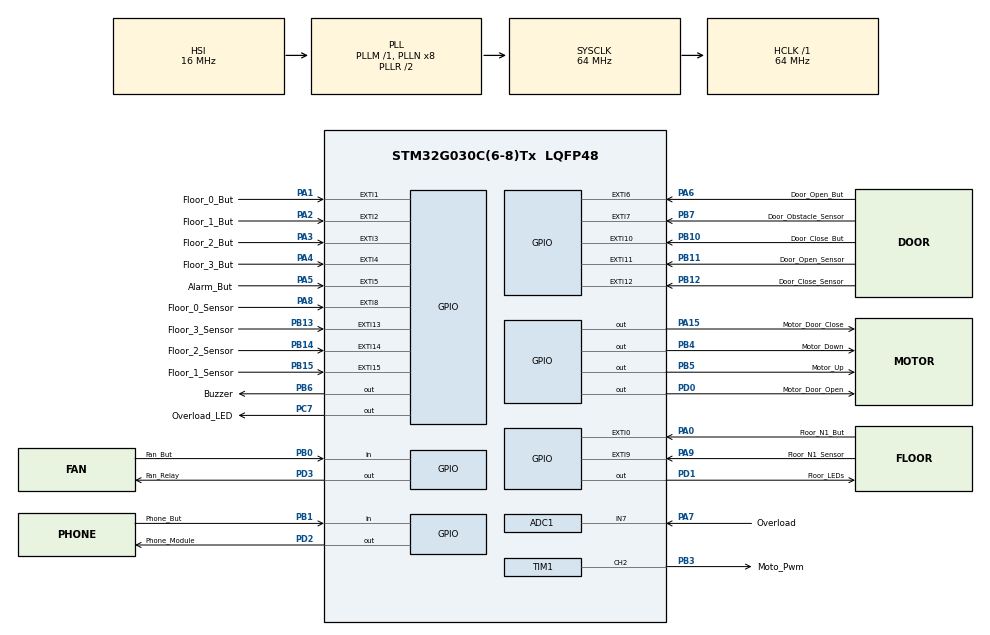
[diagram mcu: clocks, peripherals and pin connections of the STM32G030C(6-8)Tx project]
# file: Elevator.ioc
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ADC1.Channel-0\#ChannelRegularConversion=ADC_CHANNEL_7
ADC1.NbrOfConversionFlag=1
ADC1.Rank-0\#ChannelRegularConversion=1
ADC1.SamplingTime-0\#ChannelRegularConversion=ADC_SAMPLINGTIME_COMMON_1
ADC1.SamplingTimeCommon1=ADC_SAMPLETIME_7CYCLES_5
ADC1.SamplingTimeCommon2=ADC_SAMPLETIME_7CYCLES_5
ADC1.SelectedChannel=ADC_CHANNEL_7
ADC1.master=1
Mcu.Family=STM32G0
Mcu.Name=STM32G030C(6-8)Tx
Mcu.Package=LQFP48
NVIC.EXTI0_1_IRQn=true\:0\:0\:false\:false\:true\:true\:true\:true
NVIC.EXTI2_3_IRQn=true\:0\:0\:false\:false\:true\:true\:true\:true
NVIC.EXTI4_15_IRQn=true\:0\:0\:false\:false\:true\:true\:true\:true
PA0.GPIO_Label=Floor_N1_But
PA0.Signal=GPXTI0
PA1.GPIO_Label=Floor_0_But
PA1.Signal=GPXTI1
PA13.Mode=Serial_Wire
PA13.Signal=SYS_SWDIO
PA14-BOOT0.Mode=Serial_Wire
PA14-BOOT0.Signal=SYS_SWCLK
PA15.GPIO_Label=Motor_Door_Close
PA15.Signal=GPIO_Output
PA2.GPIO_Label=Floor_1_But
PA2.Signal=GPXTI2
PA3.GPIO_Label=Floor_2_But
PA3.Signal=GPXTI3
PA4.GPIO_Label=Floor_3_But
PA4.Signal=GPXTI4
PA5.GPIO_Label=Alarm_But
PA5.Signal=GPXTI5
PA6.GPIO_Label=Door_Open_But
PA6.Signal=GPXTI6
PA7.GPIO_Label=Overload
PA7.Mode=IN7
PA7.Signal=ADC1_IN7
PA8.GPIO_Label=Floor_0_Sensor
PA8.Signal=GPXTI8
PA9.GPIO_Label=Floor_N1_Sensor
PA9.Signal=GPXTI9
PB0.GPIO_Label=Fan_But
PB0.Signal=GPIO_Input
PB1.GPIO_Label=Phone_But
PB1.Signal=GPIO_Input
PB10.GPIO_Label=Door_Close_But
PB10.Signal=GPXTI10
PB11.GPIO_Label=Door_Open_Sensor
PB11.Signal=GPXTI11
PB12.GPIO_Label=Door_Close_Sensor
PB12.Signal=GPXTI12
PB13.GPIO_Label=Floor_3_Sensor
PB13.Signal=GPXTI13
PB14.GPIO_Label=Floor_2_Sensor
PB14.Signal=GPXTI14
PB15.GPIO_Label=Floor_1_Sensor
PB15.Signal=GPXTI15
PB3.GPIO_Label=Moto_Pwm
PB3.Signal=S_TIM1_CH2
PB4.GPIO_Label=Motor_Down
PB4.Signal=GPIO_Output
PB5.GPIO_Label=Motor_Up
PB5.Signal=GPIO_Output
PB6.GPIO_Label=Buzzer
PB6.Signal=GPIO_Output
PB7.GPIO_Label=Door_Obstacle_Sensor
PB7.Signal=GPXTI7
PC7.GPIO_Label=Overload_LED
PC7.Signal=GPIO_Output
PD0.GPIO_Label=Motor_Door_Open
PD0.Signal=GPIO_Output
PD1.GPIO_Label=Floor_LEDs
PD1.Signal=GPIO_Output
PD2.GPIO_Label=Phone_Module
PD2.Signal=GPIO_Output
PD3.GPIO_Label=Fan_Relay
PD3.Signal=GPIO_Output
PF0-OSC_IN\ (PF0).Mode=HSE-External-Oscillator
PF0-OSC_IN\ (PF0).Signal=RCC_OSC_IN
PF1-OSC_OUT\ (PF1).Mode=HSE-External-Oscillator
PF1-OSC_OUT\ (PF1).Signal=RCC_OSC_OUT
ProjectManager.HeapSize=0x200
ProjectManager.StackSize=0x400
ProjectManager.TargetToolchain=STM32CubeIDE
RCC.ADCFreq_Value=64000000
RCC.AHBFreq_Value=64000000
RCC.CortexFreq_Value=64000000
RCC.EXTERNAL_CLOCK_VALUE=12288000
RCC.HCLKFreq_Value=64000000
RCC.HSE_VALUE=8000000
RCC.HSI_VALUE=16000000
RCC.LSE_VALUE=32768
RCC.SYSCLKFreq_VALUE=64000000
RCC.SYSCLKSource=RCC_SYSCLKSOURCE_PLLCLK
RCC.VCOOutputFreq_Value=128000000
SH.S_TIM1_CH2.0=TIM1_CH2,Output Compare2 CH2
TIM1.Channel-Output\ Compare2\ CH2=TIM_CHANNEL_2
TIM1.CounterMode=TIM_COUNTERMODE_UP
TIM1.Period=999
TIM1.Prescaler=319
VP_TIM1_VS_ClockSourceINT.Mode=Internal
board=custom

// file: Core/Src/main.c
/* USER CODE BEGIN Header */
/**
  ******************************************************************************
  * @file           : main.c
  * @brief          : Main program body
  ******************************************************************************
  * @attention
  *
  * Copyright (c) 2025 STMicroelectronics.
  * All rights reserved.
  *
  * This software is licensed under terms that can be found in the LICENSE file
  * in the root directory of this software component.
  * If no LICENSE file comes with this software, it is provided AS-IS.
  *
  ******************************************************************************
  */
/* USER CODE END Header */
#include "main.h"

/* USER CODE BEGIN Includes */
#include "hal_config.h"
#include "elevator.h"
/* USER CODE END Includes */

ADC_HandleTypeDef hadc1;

TIM_HandleTypeDef htim1;

/* USER CODE BEGIN PV */
extern Elevator g_elevator;

/* USER CODE END PV */

void SystemClock_Config(void);
static void MX_GPIO_Init(void);
static void MX_TIM1_Init(void);
static void MX_ADC1_Init(void);

int main(void)
{

  /* MCU Configuration--------------------------------------------------------*/

  /* Reset of all peripherals, Initializes the Flash interface and the Systick. */
  HAL_Init();

  /* Configure the system clock */
  SystemClock_Config();

  /* Initialize all configured peripherals */
  MX_GPIO_Init();
  MX_TIM1_Init();
  MX_ADC1_Init();
  /* USER CODE BEGIN 2 */
  HAL_TIM_PWM_Start(&htim1, TIM_CHANNEL_2); // PWM ÇIKIŞINI BAŞLAT
  ELEVATOR_Init(); // ASANSÖR SİSTEMİNİ BAŞLAT

  /* USER CODE END 2 */

  /* Infinite loop */
  /* USER CODE BEGIN WHILE */
  while (1)
  {
	  ELEVATOR_MainLoop(); // ASANSÖRÜN ANA DÖNGÜSÜNÜ ÇALIŞTIR.

      // BEKLEME DURUMUNDA DÜŞÜK GÜÇ MODU
      if (g_elevator.state == STATE_IDLE) {
          HAL_PWR_EnterSLEEPMode(PWR_MAINREGULATOR_ON, PWR_SLEEPENTRY_WFI);
      }
    /* USER CODE END WHILE */

  }
}

void SystemClock_Config(void)
{
  RCC_OscInitTypeDef RCC_OscInitStruct = {0};
  RCC_ClkInitTypeDef RCC_ClkInitStruct = {0};

  /** Configure the main internal regulator output voltage
  */
  HAL_PWREx_ControlVoltageScaling(PWR_REGULATOR_VOLTAGE_SCALE1);

  /** Initializes the RCC Oscillators according to the specified parameters
  * in the RCC_OscInitTypeDef structure.
  */
  RCC_OscInitStruct.OscillatorType = RCC_OSCILLATORTYPE_HSI;
  RCC_OscInitStruct.HSIState = RCC_HSI_ON;
  RCC_OscInitStruct.HSIDiv = RCC_HSI_DIV1;
  RCC_OscInitStruct.HSICalibrationValue = RCC_HSICALIBRATION_DEFAULT;
  RCC_OscInitStruct.PLL.PLLState = RCC_PLL_ON;
  RCC_OscInitStruct.PLL.PLLSource = RCC_PLLSOURCE_HSI;
  RCC_OscInitStruct.PLL.PLLM = RCC_PLLM_DIV1;
  RCC_OscInitStruct.PLL.PLLN = 8;
  RCC_OscInitStruct.PLL.PLLP = RCC_PLLP_DIV2;
  RCC_OscInitStruct.PLL.PLLR = RCC_PLLR_DIV2;
  if (HAL_RCC_OscConfig(&RCC_OscInitStruct) != HAL_OK)
  {
    Error_Handler();
  }

  /** Initializes the CPU, AHB and APB buses clocks
  */
  RCC_ClkInitStruct.ClockType = RCC_CLOCKTYPE_HCLK|RCC_CLOCKTYPE_SYSCLK
                              |RCC_CLOCKTYPE_PCLK1;
  RCC_ClkInitStruct.SYSCLKSource = RCC_SYSCLKSOURCE_PLLCLK;
  RCC_ClkInitStruct.AHBCLKDivider = RCC_SYSCLK_DIV1;
  RCC_ClkInitStruct.APB1CLKDivider = RCC_HCLK_DIV1;

  if (HAL_RCC_ClockConfig(&RCC_ClkInitStruct, FLASH_LATENCY_2) != HAL_OK)
  {
    Error_Handler();
  }
}

static void MX_ADC1_Init(void)
{

  ADC_ChannelConfTypeDef sConfig = {0};

  /** Configure the global features of the ADC (Clock, Resolution, Data Alignment and number of conversion)
  */
  hadc1.Instance = ADC1;
  hadc1.Init.ClockPrescaler = ADC_CLOCK_SYNC_PCLK_DIV2;
  hadc1.Init.Resolution = ADC_RESOLUTION_12B;
  hadc1.Init.DataAlign = ADC_DATAALIGN_RIGHT;
  hadc1.Init.ScanConvMode = ADC_SCAN_DISABLE;
  hadc1.Init.EOCSelection = ADC_EOC_SINGLE_CONV;
  hadc1.Init.LowPowerAutoWait = DISABLE;
  hadc1.Init.LowPowerAutoPowerOff = DISABLE;
  hadc1.Init.ContinuousConvMode = DISABLE;
  hadc1.Init.NbrOfConversion = 1;
  hadc1.Init.DiscontinuousConvMode = DISABLE;
  hadc1.Init.ExternalTrigConv = ADC_SOFTWARE_START;
  hadc1.Init.ExternalTrigConvEdge = ADC_EXTERNALTRIGCONVEDGE_NONE;
  hadc1.Init.DMAContinuousRequests = DISABLE;
  hadc1.Init.Overrun = ADC_OVR_DATA_PRESERVED;
  hadc1.Init.SamplingTimeCommon1 = ADC_SAMPLETIME_7CYCLES_5;
  hadc1.Init.SamplingTimeCommon2 = ADC_SAMPLETIME_7CYCLES_5;
  hadc1.Init.OversamplingMode = DISABLE;
  hadc1.Init.TriggerFrequencyMode = ADC_TRIGGER_FREQ_HIGH;
  if (HAL_ADC_Init(&hadc1) != HAL_OK)
  {
    Error_Handler();
  }

  /** Configure Regular Channel
  */
  sConfig.Channel = ADC_CHANNEL_7;
  sConfig.Rank = ADC_REGULAR_RANK_1;
  sConfig.SamplingTime = ADC_SAMPLINGTIME_COMMON_1;
  if (HAL_ADC_ConfigChannel(&hadc1, &sConfig) != HAL_OK)
  {
    Error_Handler();
  }

}

static void MX_TIM1_Init(void)
{

  TIM_ClockConfigTypeDef sClockSourceConfig = {0};
  TIM_MasterConfigTypeDef sMasterConfig = {0};
  TIM_OC_InitTypeDef sConfigOC = {0};
  TIM_BreakDeadTimeConfigTypeDef sBreakDeadTimeConfig = {0};

  htim1.Instance = TIM1;
  htim1.Init.Prescaler = 319;
  htim1.Init.CounterMode = TIM_COUNTERMODE_UP;
  htim1.Init.Period = 999;
  htim1.Init.ClockDivision = TIM_CLOCKDIVISION_DIV1;
  htim1.Init.RepetitionCounter = 0;
  htim1.Init.AutoReloadPreload = TIM_AUTORELOAD_PRELOAD_DISABLE;
  if (HAL_TIM_Base_Init(&htim1) != HAL_OK)
  {
    Error_Handler();
  }
  sClockSourceConfig.ClockSource = TIM_CLOCKSOURCE_INTERNAL;
  if (HAL_TIM_ConfigClockSource(&htim1, &sClockSourceConfig) != HAL_OK)
  {
    Error_Handler();
  }
  if (HAL_TIM_OC_Init(&htim1) != HAL_OK)
  {
    Error_Handler();
  }
  sMasterConfig.MasterOutputTrigger = TIM_TRGO_RESET;
  sMasterConfig.MasterOutputTrigger2 = TIM_TRGO2_RESET;
  sMasterConfig.MasterSlaveMode = TIM_MASTERSLAVEMODE_DISABLE;
  if (HAL_TIMEx_MasterConfigSynchronization(&htim1, &sMasterConfig) != HAL_OK)
  {
    Error_Handler();
  }
  sConfigOC.OCMode = TIM_OCMODE_TIMING;
  sConfigOC.Pulse = 0;
  sConfigOC.OCPolarity = TIM_OCPOLARITY_HIGH;
  sConfigOC.OCNPolarity = TIM_OCNPOLARITY_HIGH;
  sConfigOC.OCFastMode = TIM_OCFAST_DISABLE;
  sConfigOC.OCIdleState = TIM_OCIDLESTATE_RESET;
  sConfigOC.OCNIdleState = TIM_OCNIDLESTATE_RESET;
  if (HAL_TIM_OC_ConfigChannel(&htim1, &sConfigOC, TIM_CHANNEL_2) != HAL_OK)
  {
    Error_Handler();
  }
  sBreakDeadTimeConfig.OffStateRunMode = TIM_OSSR_DISABLE;
  sBreakDeadTimeConfig.OffStateIDLEMode = TIM_OSSI_DISABLE;
  sBreakDeadTimeConfig.LockLevel = TIM_LOCKLEVEL_OFF;
  sBreakDeadTimeConfig.DeadTime = 0;
  sBreakDeadTimeConfig.BreakState = TIM_BREAK_DISABLE;
  sBreakDeadTimeConfig.BreakPolarity = TIM_BREAKPOLARITY_HIGH;
  sBreakDeadTimeConfig.BreakFilter = 0;
  sBreakDeadTimeConfig.BreakAFMode = TIM_BREAK_AFMODE_INPUT;
  sBreakDeadTimeConfig.Break2State = TIM_BREAK2_DISABLE;
  sBreakDeadTimeConfig.Break2Polarity = TIM_BREAK2POLARITY_HIGH;
  sBreakDeadTimeConfig.Break2Filter = 0;
  sBreakDeadTimeConfig.Break2AFMode = TIM_BREAK_AFMODE_INPUT;
  sBreakDeadTimeConfig.AutomaticOutput = TIM_AUTOMATICOUTPUT_DISABLE;
  if (HAL_TIMEx_ConfigBreakDeadTime(&htim1, &sBreakDeadTimeConfig) != HAL_OK)
  {
    Error_Handler();
  }
  HAL_TIM_MspPostInit(&htim1);

}

static void MX_GPIO_Init(void)
{
  GPIO_InitTypeDef GPIO_InitStruct = {0};

  /* GPIO Ports Clock Enable */
  __HAL_RCC_GPIOF_CLK_ENABLE();
  __HAL_RCC_GPIOA_CLK_ENABLE();
  __HAL_RCC_GPIOB_CLK_ENABLE();
  __HAL_RCC_GPIOC_CLK_ENABLE();
  __HAL_RCC_GPIOD_CLK_ENABLE();

  /*Configure GPIO pin Output Level */
  HAL_GPIO_WritePin(Overload_LED_GPIO_Port, Overload_LED_Pin, GPIO_PIN_RESET);

  /*Configure GPIO pin Output Level */
  HAL_GPIO_WritePin(Motor_Door_Close_GPIO_Port, Motor_Door_Close_Pin, GPIO_PIN_RESET);

  /*Configure GPIO pin Output Level */
  HAL_GPIO_WritePin(GPIOD, Motor_Door_Open_Pin|Floor_LEDs_Pin|Phone_Module_Pin|Fan_Relay_Pin, GPIO_PIN_RESET);

  /*Configure GPIO pin Output Level */
  HAL_GPIO_WritePin(GPIOB, Motor_Down_Pin|Motor_Up_Pin|Buzzer_Pin, GPIO_PIN_RESET);

  /*Configure GPIO pins : Floor_N1_But_Pin Floor_0_But_Pin Floor_1_But_Pin Floor_2_But_Pin
                           Floor_3_But_Pin Alarm_But_Pin Door_Open_But_Pin Floor_0_Sensor_Pin
                           Floor_N1_Sensor_Pin */
  GPIO_InitStruct.Pin = Floor_N1_But_Pin|Floor_0_But_Pin|Floor_1_But_Pin|Floor_2_But_Pin
                          |Floor_3_But_Pin|Alarm_But_Pin|Door_Open_But_Pin|Floor_0_Sensor_Pin
                          |Floor_N1_Sensor_Pin;
  GPIO_InitStruct.Mode = GPIO_MODE_IT_RISING;
  GPIO_InitStruct.Pull = GPIO_NOPULL;
  HAL_GPIO_Init(GPIOA, &GPIO_InitStruct);

  /*Configure GPIO pins : Fan_But_Pin Phone_But_Pin */
  GPIO_InitStruct.Pin = Fan_But_Pin|Phone_But_Pin;
  GPIO_InitStruct.Mode = GPIO_MODE_INPUT;
  GPIO_InitStruct.Pull = GPIO_NOPULL;
  HAL_GPIO_Init(GPIOB, &GPIO_InitStruct);

  /*Configure GPIO pins : Door_Close_But_Pin Door_Open_Sensor_Pin Door_Close_Sensor_Pin Floor_3_Sensor_Pin
                           Floor_2_Sensor_Pin Floor_1_Sensor_Pin Door_Obstacle_Sensor_Pin */
  GPIO_InitStruct.Pin = Door_Close_But_Pin|Door_Open_Sensor_Pin|Door_Close_Sensor_Pin|Floor_3_Sensor_Pin
                          |Floor_2_Sensor_Pin|Floor_1_Sensor_Pin|Door_Obstacle_Sensor_Pin;
  GPIO_InitStruct.Mode = GPIO_MODE_IT_RISING;
  GPIO_InitStruct.Pull = GPIO_NOPULL;
  HAL_GPIO_Init(GPIOB, &GPIO_InitStruct);

  /*Configure GPIO pin : Overload_LED_Pin */
  GPIO_InitStruct.Pin = Overload_LED_Pin;
  GPIO_InitStruct.Mode = GPIO_MODE_OUTPUT_PP;
  GPIO_InitStruct.Pull = GPIO_NOPULL;
  GPIO_InitStruct.Speed = GPIO_SPEED_FREQ_LOW;
  HAL_GPIO_Init(Overload_LED_GPIO_Port, &GPIO_InitStruct);

  /*Configure GPIO pin : Motor_Door_Close_Pin */
  GPIO_InitStruct.Pin = Motor_Door_Close_Pin;
  GPIO_InitStruct.Mode = GPIO_MODE_OUTPUT_PP;
  GPIO_InitStruct.Pull = GPIO_NOPULL;
  GPIO_InitStruct.Speed = GPIO_SPEED_FREQ_LOW;
  HAL_GPIO_Init(Motor_Door_Close_GPIO_Port, &GPIO_InitStruct);

  /*Configure GPIO pins : Motor_Door_Open_Pin Floor_LEDs_Pin Phone_Module_Pin Fan_Relay_Pin */
  GPIO_InitStruct.Pin = Motor_Door_Open_Pin|Floor_LEDs_Pin|Phone_Module_Pin|Fan_Relay_Pin;
  GPIO_InitStruct.Mode = GPIO_MODE_OUTPUT_PP;
  GPIO_InitStruct.Pull = GPIO_NOPULL;
  GPIO_InitStruct.Speed = GPIO_SPEED_FREQ_LOW;
  HAL_GPIO_Init(GPIOD, &GPIO_InitStruct);

  /*Configure GPIO pins : Motor_Down_Pin Motor_Up_Pin Buzzer_Pin */
  GPIO_InitStruct.Pin = Motor_Down_Pin|Motor_Up_Pin|Buzzer_Pin;
  GPIO_InitStruct.Mode = GPIO_MODE_OUTPUT_PP;
  GPIO_InitStruct.Pull = GPIO_NOPULL;
  GPIO_InitStruct.Speed = GPIO_SPEED_FREQ_LOW;
  HAL_GPIO_Init(GPIOB, &GPIO_InitStruct);

  /* EXTI interrupt init*/
  HAL_NVIC_SetPriority(EXTI0_1_IRQn, 0, 0);
  HAL_NVIC_EnableIRQ(EXTI0_1_IRQn);

  HAL_NVIC_SetPriority(EXTI2_3_IRQn, 0, 0);
  HAL_NVIC_EnableIRQ(EXTI2_3_IRQn);

  HAL_NVIC_SetPriority(EXTI4_15_IRQn, 0, 0);
  HAL_NVIC_EnableIRQ(EXTI4_15_IRQn);

}

/* USER CODE BEGIN 4 */

// EXTI KESME GERİ ÇAĞIRMA FONKSİYONU
void HAL_GPIO_EXTI_Callback(uint16_t GPIO_Pin)
{
    uint32_t current_tick = HAL_GetTick();

    // Kat tuşları
    if (GPIO_Pin == Floor_N1_But_Pin) {
        if (current_tick - last_button_press_time[0] > DEBOUNCE_TIME_MS) {
            ELEVATOR_AddCall(FLOOR_N1);
            last_button_press_time[0] = current_tick;
        }
    } else if (GPIO_Pin == Floor_0_But_Pin) {
        if (current_tick - last_button_press_time[1] > DEBOUNCE_TIME_MS) {
            ELEVATOR_AddCall(FLOOR_0);
            last_button_press_time[1] = current_tick;
        }
    } else if (GPIO_Pin == Floor_1_But_Pin) {
        if (current_tick - last_button_press_time[2] > DEBOUNCE_TIME_MS) {
            ELEVATOR_AddCall(FLOOR_1);
            last_button_press_time[2] = current_tick;
        }
    } else if (GPIO_Pin == Floor_2_But_Pin) {
        if (current_tick - last_button_press_time[3] > DEBOUNCE_TIME_MS) {
            ELEVATOR_AddCall(FLOOR_2);
            last_button_press_time[3] = current_tick;
        }
    } else if (GPIO_Pin == Floor_3_But_Pin) {
        if (current_tick - last_button_press_time[4] > DEBOUNCE_TIME_MS) {
            ELEVATOR_AddCall(FLOOR_3);
            last_button_press_time[4] = current_tick;
        }
    }
    // Özel tuşlar
    else if (GPIO_Pin == Alarm_But_Pin) {
        if (current_tick - last_button_press_time[5] > DEBOUNCE_TIME_MS) {
            if (g_elevator.state != STATE_ALARM) {
                g_elevator.state = STATE_ALARM;
            }
            last_button_press_time[5] = current_tick;
        }
    } else if (GPIO_Pin == Door_Open_But_Pin) {
        if (current_tick - last_button_press_time[6] > DEBOUNCE_TIME_MS) {
            if (g_elevator.state == STATE_IDLE || g_elevator.state == STATE_DOOR_OPEN || g_elevator.state == STATE_DOOR_CLOSING) {
                g_elevator.state = STATE_DOOR_OPENING;
            }
            last_button_press_time[6] = current_tick;
        }
    } else if (GPIO_Pin == Door_Close_But_Pin) {
        if (current_tick - last_button_press_time[7] > DEBOUNCE_TIME_MS) {
            // Kapı kapatma tuşu basıldığında doğrudan kapı kapanma durumuna geç
            if (g_elevator.state == STATE_DOOR_OPEN) {
                HAL_CloseDoor();
                g_elevator.state = STATE_DOOR_CLOSING;
            }
            last_button_press_time[7] = current_tick;
        }
    } else if (GPIO_Pin == Fan_But_Pin) {
        if (current_tick - last_button_press_time[8] > DEBOUNCE_TIME_MS) {
            g_elevator.ventilation_on = !g_elevator.ventilation_on;
            HAL_ControlVentilation(g_elevator.ventilation_on);
            last_button_press_time[8] = current_tick;
        }
    } else if (GPIO_Pin == Phone_But_Pin) {
        if (current_tick - last_button_press_time[9] > DEBOUNCE_TIME_MS) {
            if (g_elevator.state != STATE_PHONE) {
                g_elevator.state = STATE_PHONE;
            }
            last_button_press_time[9] = current_tick;
        }
    }
    // Kat sensörleri
    else if (GPIO_Pin == Floor_N1_Sensor_Pin) {
        // Asansör -1. kata ulaştı
        if (g_elevator.state == STATE_MOVING_DOWN && g_elevator.target_floor == FLOOR_N1) {
            // Hedef kata ulaşıldı, motoru durdur ve kapıyı aç
            HAL_StopMotor();
            g_elevator.current_floor = FLOOR_N1;
            g_elevator.state = STATE_DOOR_OPENING;
        }
    } else if (GPIO_Pin == Floor_0_Sensor_Pin) {
        // Asansör 0. kata ulaştı
        if ((g_elevator.state == STATE_MOVING_UP && g_elevator.target_floor == FLOOR_0) ||
            (g_elevator.state == STATE_MOVING_DOWN && g_elevator.target_floor == FLOOR_0)) {
            HAL_StopMotor();
            g_elevator.current_floor = FLOOR_0;
            g_elevator.state = STATE_DOOR_OPENING;
        }
    } else if (GPIO_Pin == Floor_1_Sensor_Pin) {
        // Asansör 1. kata ulaştı
        if ((g_elevator.state == STATE_MOVING_UP && g_elevator.target_floor == FLOOR_1) ||
            (g_elevator.state == STATE_MOVING_DOWN && g_elevator.target_floor == FLOOR_1)) {
            HAL_StopMotor();
            g_elevator.current_floor = FLOOR_1;
            g_elevator.state = STATE_DOOR_OPENING;
        }
    } else if (GPIO_Pin == Floor_2_Sensor_Pin) {
        // Asansör 2. kata ulaştı
        if ((g_elevator.state == STATE_MOVING_UP && g_elevator.target_floor == FLOOR_2) ||
            (g_elevator.state == STATE_MOVING_DOWN && g_elevator.target_floor == FLOOR_2)) {
            HAL_StopMotor();
            g_elevator.current_floor = FLOOR_2;
            g_elevator.state = STATE_DOOR_OPENING;
        }
    } else if (GPIO_Pin == Floor_3_Sensor_Pin) {
        // Asansör 3. kata ulaştı
        if (g_elevator.state == STATE_MOVING_UP && g_elevator.target_floor == FLOOR_3) {
            HAL_StopMotor();
            g_elevator.current_floor = FLOOR_3;
            g_elevator.state = STATE_DOOR_OPENING;
        }
    }
    // Kapı sensörleri
    else if (GPIO_Pin == Door_Open_Sensor_Pin) {
        // Kapı tamamen açık sensörü tetiklendiğinde
        if (g_elevator.state == STATE_DOOR_OPENING) {
            HAL_StopDoor(); // Kapı motorunu durdur
            g_elevator.state = STATE_DOOR_OPEN; // Durumu kapı açık olarak ayarla
            g_elevator.door_timer = HAL_GetTick(); // Kapı açık kalma süresi için zamanlayıcıyı başlat
        }
    } else if (GPIO_Pin == Door_Close_Sensor_Pin) {
        // Kapı tamamen kapalı sensörü tetiklendiğinde
        if (g_elevator.state == STATE_DOOR_CLOSING) {
            HAL_StopDoor(); // Kapı motorunu durdur
            g_elevator.state = STATE_IDLE; // Durumu boşta olarak ayarla
        }
    } else if (GPIO_Pin == Door_Obstacle_Sensor_Pin) {
        // Kapı kapanırken engel algılandı
        if (g_elevator.state == STATE_DOOR_CLOSING) {
            HAL_OpenDoor(); // Kapıyı tekrar aç
            g_elevator.state = STATE_DOOR_OPENING; // Durumu kapı açılıyor olarak ayarla
        }
    }
}
/* USER CODE END 4 */

void Error_Handler(void)
{
  __disable_irq();
  while (1)
  {
  }
}
